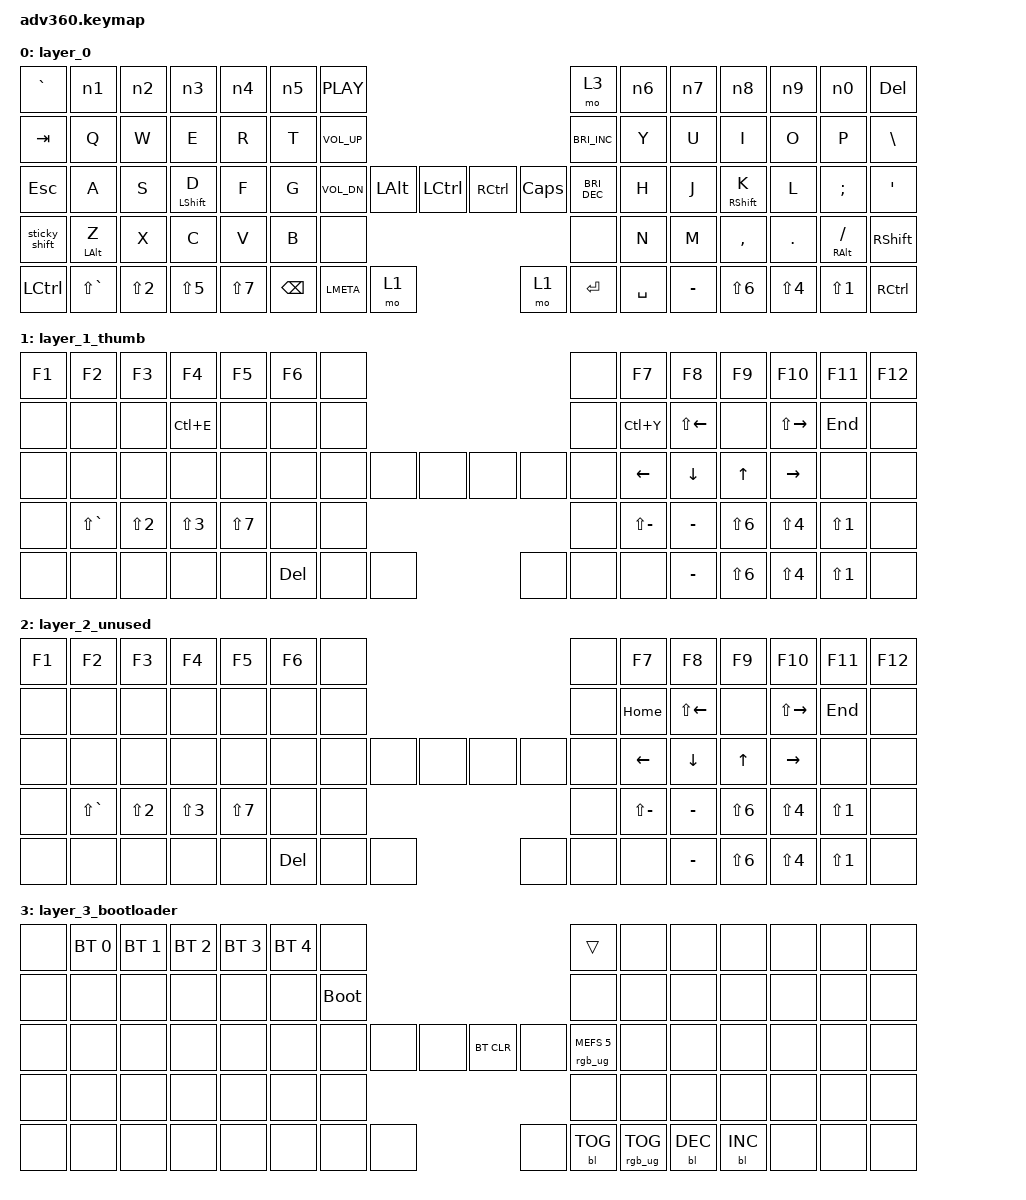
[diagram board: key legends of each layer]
#include <behaviors.dtsi>
#include <dt-bindings/zmk/keys.h>
#include <dt-bindings/zmk/bt.h>
#include <dt-bindings/zmk/rgb.h>
#include <dt-bindings/zmk/backlight.h>

/ {
    behaviors {
      #include "macros.dtsi"
      #include "version.dtsi"
      #ifndef VERSION_MACRO
      macro_ver: macro_ver {
        compatible = "zmk,behavior-macro";
        label = "macro_version";
        #binding-cells = <0>;
        bindings = <&kp RET>;
      };
      #endif

    hm: homerow_mod {
        compatible = "zmk,behavior-hold-tap";
        label = "HOMEROW_MODS";
        #binding-cells = <2>;
        tapping-term-ms = <200>;
        quick_tap_ms = <175>;
        flavor = "tap-preferred";
        bindings = <&kp>, <&kp>;
    };
    hml: homerow_mod_left {
        compatible = "zmk,behavior-hold-tap";
        label = "HOMEROW_MODS_LEFT";
        #binding-cells = <2>;
        tapping-term-ms = <200>;
        // quick-tap-ms = <200>;
        flavor = "balanced";
// hold-trigger-key-positions -> list of keys (pos idx as below) that CAN get the mod (others force tap)
// <0>           <1>           <2>           <3>            <4>              <5>         <6>                                                                 <7>           <8>        <9>              <10>          <11>           <12>         <13>
// <14>          <15>          <16>          <17>           <18>             <19>        <20>                                                                <21>          <22>       <23>             <24>          <25>           <26>         <27>
// <28>          <29>          <30>          <31>           <32>             <33>        <34>            <35>        <36>             <37>       <38>        <39>          <40>       <41>             <42>          <43>           <44>         <45>
// <46>          <47>          <48>          <49>           <50>             <51>                                    <52>             <53>                                 <54>       <55>             <56>          <57>           <58>         <59>
// <60>          <61>          <62>          <63>           <64>                         <65>            <66>        <67>             <68>       <69>        <70>                     <71>             <72>          <73>           <74>         <75>
// exclude only homerow of left hand
        hold-trigger-key-positions = <0>, <1>, <2>, <3>, <4>, <5>, <6>, <7>, <8>, <9>, <10>, <11>, <12>, <13>, <14>, <15>, <16>, <17>, <18>, <19>, <20>, <21>, <22>, <23>, <24>, <25>, <26>, <27>, <28>, <34>, <35>, <36>, <37>, <38>, <39>, <40>, <41>, <42>, <43>, <44>, <45>, <46>, <47>, <48>, <49>, <50>, <51>, <52>, <53>, <54>, <55>, <56>, <57>, <58>, <59>, <60>, <61>, <62>, <63>, <64>, <65>, <66>, <67>, <68>, <69>, <71>, <72>, <73>, <74>, <75>;
        bindings = <&kp>, <&kp>;
    };
    hmr: homerow_mod_right {
        compatible = "zmk,behavior-hold-tap";
        label = "HOMEROW_MODS_RIGHT";
        #binding-cells = <2>;
        tapping-term-ms = <200>;
        quick-tap-ms = <200>;
        flavor = "balanced";
// hold-trigger-key-positions -> list of keys (pos idx as below) that CAN get the mod (others force tap)
// <0>           <1>           <2>           <3>            <4>              <5>         <6>                                                                 <7>           <8>        <9>              <10>          <11>           <12>         <13>
// <14>          <15>          <16>          <17>           <18>             <19>        <20>                                                                <21>          <22>       <23>             <24>          <25>           <26>         <27>
// <28>          <29>          <30>          <31>           <32>             <33>        <34>            <35>        <36>             <37>       <38>        <39>          <40>       <41>             <42>          <43>           <44>         <45>
// <46>          <47>          <48>          <49>           <50>             <51>                                    <52>             <53>                                 <54>       <55>             <56>          <57>           <58>         <59>
// <60>          <61>          <62>          <63>           <64>                         <65>            <66>        <67>             <68>       <69>        <70>                     <71>             <72>          <73>           <74>         <75>
// exclude only homerow of right hand
        hold-trigger-key-positions = <0>, <1>, <2>, <3>, <4>, <5>, <6>, <7>, <8>, <9>, <10>, <11>, <12>, <13>, <14>, <15>, <16>, <17>, <18>, <19>, <20>, <21>, <22>, <23>, <24>, <25>, <26>, <27>, <28>, <29>, <30>, <31>, <32>, <33>, <34>, <35>, <36>, <37>, <38>, <39>, <45>, <46>, <47>, <48>, <49>, <50>, <51>, <52>, <53>, <54>, <55>, <56>, <57>, <58>, <59>, <60>, <61>, <62>, <63>, <64>, <65>, <66>, <67>, <68>, <69>, <71>, <72>, <73>, <74>, <75>;
        bindings = <&kp>, <&kp>;
    };

    sticky_shift: sticky_shift {
        compatible = "zmk,behavior-tap-dance";
        label = "STICKY_SHIFT";
        #binding-cells = <0>;
        tapping-term-ms = <200>;
        bindings = <&kp LSHIFT>, <&caps_word>;

    };

    back_del: back_del {
        compatible = "zmk,behavior-mod-morph";
        label = "BACK_DEL";
        #binding-cells = <0>;
        bindings = <&kp BACKSPACE>, <&kp DELETE>;
        mods = <(MOD_LSFT|MOD_RSFT)>;
    };

    n1: plus_1 {
        compatible = "zmk,behavior-mod-morph";
        #binding-cells = <0>;
        label = "plus_1";
        bindings = <&kp N1>, <&kp LS(EQUAL)>;
        mods = <(MOD_LSFT|MOD_RSFT)>;
    };
    n2: lbkt_2 {
        compatible = "zmk,behavior-mod-morph";
        #binding-cells = <0>;
        label = "lbkt_2";
        bindings = <&kp N2>, <&kp LBKT>;
        mods = <(MOD_LSFT|MOD_RSFT)>;
    };
    n3: lbrc_3 {
        compatible = "zmk,behavior-mod-morph";
        #binding-cells = <0>;
        label = "lbrc_3";
        bindings = <&kp N3>, <&kp LS(LBKT)>;
        mods = <(MOD_LSFT|MOD_RSFT)>;
    };
    n4: lpar_4 {
        compatible = "zmk,behavior-mod-morph";
        #binding-cells = <0>;
        label = "lpar_4";
        bindings = <&kp N4>, <&kp LS(N9)>;
        mods = <(MOD_LSFT|MOD_RSFT)>;
    };
    n5: hash_5 {
        compatible = "zmk,behavior-mod-morph";
        #binding-cells = <0>;
        label = "hash_5";
        bindings = <&kp N5>, <&kp LS(N3)>;
        mods = <(MOD_LSFT|MOD_RSFT)>;
    };
    n6: equal_6 {
        compatible = "zmk,behavior-mod-morph";
        #binding-cells = <0>;
        label = "equal_6";
        bindings = <&kp N6>, <&kp EQUAL>;
        mods = <(MOD_LSFT|MOD_RSFT)>;
    };
    n7: rpar_7 {
        compatible = "zmk,behavior-mod-morph";
        #binding-cells = <0>;
        label = "rpar_7";
        bindings = <&kp N7>, <&kp LS(N0)>;
        mods = <(MOD_LSFT|MOD_RSFT)>;
    };
    n8: rbrc_8 {
        compatible = "zmk,behavior-mod-morph";
        #binding-cells = <0>;
        label = "rbrc_8";
        bindings = <&kp N8>, <&kp LS(RBKT)>;
        mods = <(MOD_LSFT|MOD_RSFT)>;
    };
    n9: rbkt_9 {
        compatible = "zmk,behavior-mod-morph";
        #binding-cells = <0>;
        label = "rbkt_9";
        bindings = <&kp N9>, <&kp RBKT>;
        mods = <(MOD_LSFT|MOD_RSFT)>;
    };
    n0: astk_0 {
        compatible = "zmk,behavior-mod-morph";
        #binding-cells = <0>;
        label = "astk_0";
        bindings = <&kp N0>, <&kp LS(N8)>;
        mods = <(MOD_LSFT|MOD_RSFT)>;
    };
  };

    keymap {
        compatible = "zmk,keymap";


        layer_0 {
bindings = <
&kp GRAVE     &n1           &n2           &n3            &n4              &n5         &kp C_PLAY                                                          &mo 3         &n6        &n7              &n8           &n9            &n0            &kp DELETE
&kp TAB       &kp Q         &kp W         &kp E          &kp R            &kp T       &kp C_VOL_UP                                                        &kp C_BRI_INC  &kp Y      &kp U            &kp I         &kp O          &kp P          &kp BSLH
&kp ESC       &kp A         &kp S         &hml LSHIFT D  &kp F            &kp G       &kp C_VOL_DN   &kp LALT    &kp LCTRL        &kp RCTRL  &kp CAPS     &kp C_BRI_DEC  &kp H      &kp J            &hmr RSHIFT K &kp L          &kp SEMI       &kp SQT
&sticky_shift &hmr LALT Z   &kp X         &kp C          &kp V            &kp B                                   &none            &none                                &kp N      &kp M            &kp COMMA     &kp DOT        &hmr RALT FSLH &kp RSHFT
&kp LCTRL     &kp LS(GRAVE) &kp LS(N2)    &kp LS(N5)     &kp LS(N7)                   &kp BACKSPACE   &kp LMETA   &mo 1            &mo 1      &kp ENTER   &kp SPACE                &kp MINUS        &kp LS(N6)    &kp LS(N4)     &kp LS(N1)     &kp RCTRL
>;                                                                                                                                                                                                                     
// &lt 2 ESC
        };                                                                                                                                                                                                             

        layer_1_thumb {
bindings = <                                                                                                                                                                                               
&kp F1      &kp F2         &kp F3        &kp F4         &kp F5         &kp F6          &none                                                               &none         &kp F7         &kp F8       &kp F9        &kp F10       &kp F11      &kp F12
&none       &none          &none         &kp LC(E)      &none          &none           &none                                                               &none         &kp LC(Y)      &kp LS(LEFT) &none         &kp LS(RIGHT) &kp END      &none     
&none       &none          &none         &none          &none          &none           &none           &none       &none            &none      &none       &none         &kp LEFT       &kp DOWN     &kp UP        &kp RIGHT     &none        &none  
&none       &kp LS(GRAVE)  &kp LS(N2)    &kp LS(N3)     &kp LS(N7)     &none                                       &none            &none                                &kp LS(MINUS)  &kp MINUS    &kp LS(N6)    &kp LS(N4)    &kp LS(N1)   &none
&none       &none          &none         &none          &none                          &kp DELETE      &none       &none            &none      &none       &none                        &kp MINUS    &kp LS(N6)    &kp LS(N4)    &kp LS(N1)   &none
>;
        };

        layer_2_unused { // just so i don't have to mess with the layer indecies above incase I want esc layer back
bindings = <                                                                                                                                                                                               
&kp F1      &kp F2         &kp F3        &kp F4         &kp F5         &kp F6          &none                                                               &none         &kp F7         &kp F8       &kp F9        &kp F10       &kp F11      &kp F12
&none       &none          &none         &none          &none          &none           &none                                                               &none         &kp HOME       &kp LS(LEFT) &none         &kp LS(RIGHT) &kp END      &none     
&none       &none          &none         &none          &none          &none           &none           &none       &none            &none      &none       &none         &kp LEFT       &kp DOWN     &kp UP        &kp RIGHT     &none        &none  
&none       &kp LS(GRAVE)  &kp LS(N2)    &kp LS(N3)     &kp LS(N7)     &none                                       &none            &none                                &kp LS(MINUS)  &kp MINUS    &kp LS(N6)    &kp LS(N4)    &kp LS(N1)   &none
&none       &none          &none         &none          &none                          &kp DELETE      &none       &none            &none      &none       &none                        &kp MINUS    &kp LS(N6)    &kp LS(N4)    &kp LS(N1)   &none
>;
        };


        layer_3_bootloader {
bindings = <
&none  &bt BT_SEL 0  &bt BT_SEL 1  &bt BT_SEL 2  &bt BT_SEL 3  &bt BT_SEL 4                  &none                                                                          &trans   &none       &none       &none   &none   &none   &none
&none         &none         &none         &none         &none         &none            &bootloader                                                                           &none   &none       &none       &none   &none   &none   &none
&none         &none         &none         &none         &none         &none                  &none   &none   &none                  &bt BT_CLR       &none  &rgb_ug RGB_MEFS_CMD 5   &none       &none       &none   &none   &none   &none
&none         &none         &none         &none         &none         &none                                  &none                       &none                                       &none       &none       &none   &none   &none   &none
&none         &none         &none         &none         &none                                &none   &none   &none                       &none  &bl BL_TOG         &rgb_ug RGB_TOG          &bl BL_DEC  &bl BL_INC   &none   &none   &none
            >;
        };
    };
};

// ex: syntax=c
